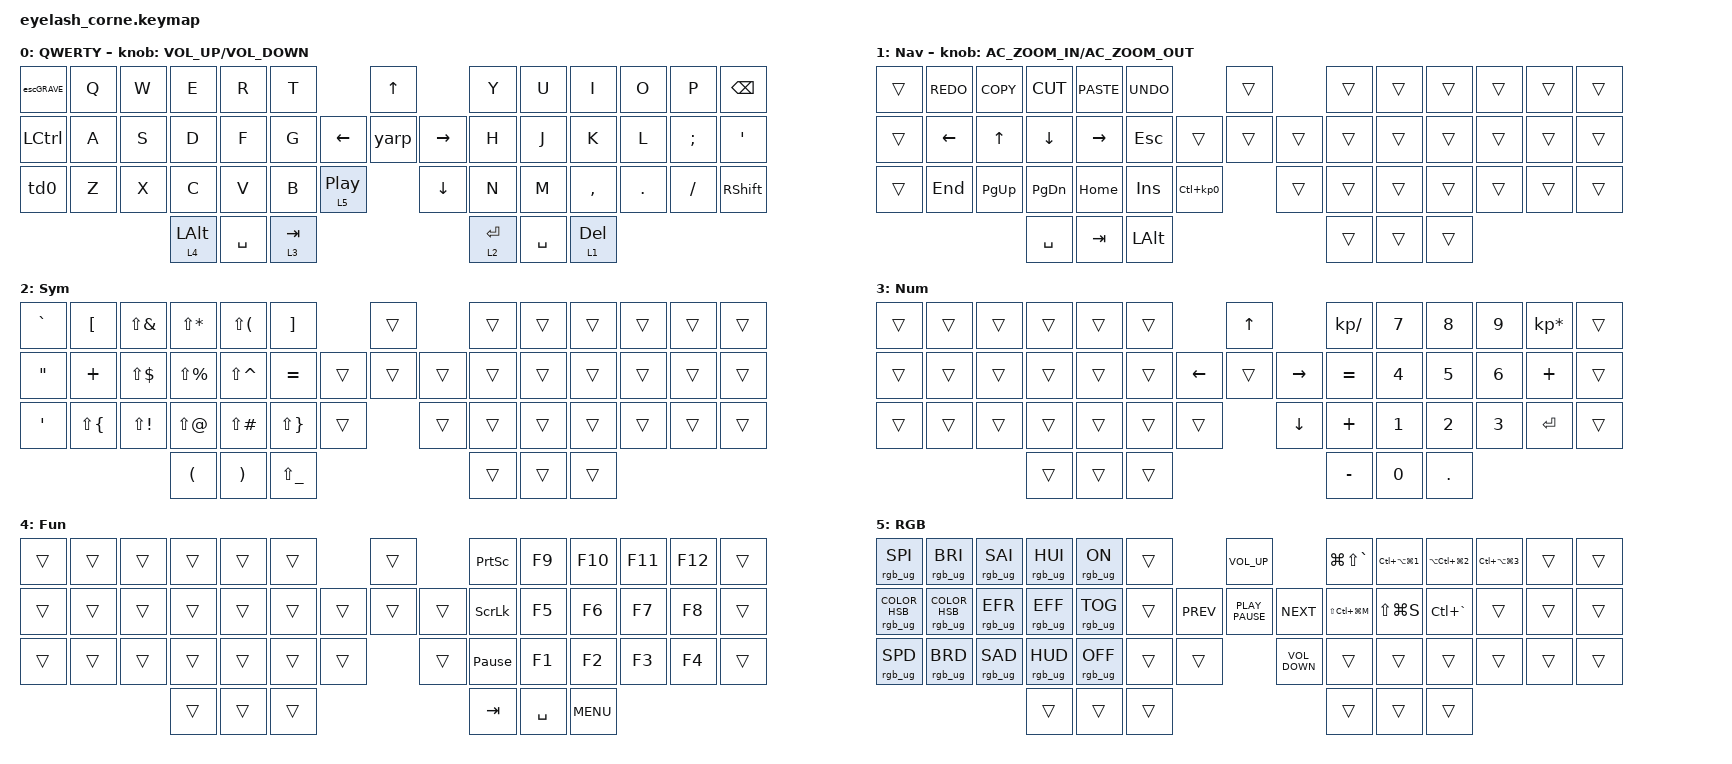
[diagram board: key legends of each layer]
#define ZMK_POINTING_DEFAULT_MOVE_VAL 1200  // 600
#define ZMK_POINTING_DEFAULT_SCRL_VAL 25   // 10

#include <input/processors.dtsi>
#include <zephyr/dt-bindings/input/input-event-codes.h>
#include <behaviors.dtsi>
#include <dt-bindings/zmk/keys.h>
#include <dt-bindings/zmk/pointing.h>
#include <dt-bindings/zmk/rgb.h>

&mmv_input_listener { input-processors = <&zip_xy_scaler 2 1>; };

&msc_input_listener { input-processors = <&zip_scroll_scaler 2 1>; };

&msc {
    acceleration-exponent = <1>;      // 0
    time-to-max-speed-ms = <100>;       // 300
    delay-ms = <0>;                   // 0
};

&mmv {
    time-to-max-speed-ms = <500>;
    acceleration-exponent = <1>;
    trigger-period-ms = <16>;
};

/ {
    behaviors {
        td0: td0 {
            compatible = "zmk,behavior-tap-dance";
            display-name = "Shift/Caps Lock Tap Dance";
            #binding-cells = <0>;
            bindings = <&kp LEFT_SHIFT>, <&kp CAPS>;
        };

        rpi: require_prior_idle {
            compatible = "zmk,behavior-hold-tap";
            label = "RPI";
            bindings = <&kp>, <&kp>;

            #binding-cells = <2>;
            tapping-term-ms = <200>;
            quick-tap-ms = <200>;
            require-prior-idle-ms = <125>;
            flavor = "tap-preferred";
        };

        leftlt: leftlt {
            compatible = "zmk,behavior-hold-tap";
            label = "LEFTLT";
            bindings = <&mo>, <&kp>;

            #binding-cells = <2>;
            tapping-term-ms = <200>;
            quick-tap-ms = <200>;
            require-prior-idle-ms = <125>;
            flavor = "tap-preferred";
            hold-trigger-key-positions = <0 1 2 3 4 5 13 14 15 16 17 18 28 29 30 31 32 33 34 42 43 44>;
        };

        rightlt: rightlt {
            compatible = "zmk,behavior-hold-tap";
            label = "RIGHTLT";
            bindings = <&mo>, <&kp>;

            #binding-cells = <2>;
            tapping-term-ms = <200>;
            quick-tap-ms = <200>;
            require-prior-idle-ms = <125>;
            flavor = "tap-preferred";
            hold-trigger-key-positions = <6 7 8 9 10 11 12 19 20 21 22 23 24 25 26 27 35 36 37 38 39 40 41 45 46 47>;
        };

        escGRAVE: escGRAVE {
            compatible = "zmk,behavior-tap-dance";
            display-name = "Shift/Caps Lock Tap Dance";
            #binding-cells = <0>;
            bindings = <&kp ESCAPE>, <&kp GRAVE>;

            label = "ESCGRAVE";
        };
    };

        rgb_encoder: rgb_encoder {
            compatible = "zmk,behavior-sensor-rotate";
            #sensor-binding-cells = <0>;
            bindings = <&rgb_ug RGB_BRI>, <&rgb_ug RGB_BRD>;
        };

        scroll_encoder: scroll_encoder {
            compatible = "zmk,behavior-sensor-rotate";
            #sensor-binding-cells = <0>;
            bindings = <&msc SCRL_DOWN>, <&msc SCRL_UP>;

            tap-ms = <100>;
        };

    macros {
        appt: snipping {
            compatible = "zmk,behavior-macro";
            #binding-cells = <0>;
            bindings = <&kp H &kp T &kp T &kp P &kp S &kp COLON &kp FSLH &kp FSLH &kp C &kp A &kp L &kp E &kp N &kp D &kp A &kp R &kp DOT &kp A &kp P &kp P &kp DOT &kp G &kp O &kp O &kp G &kp L &kp E &kp FSLH &kp LS(D) &kp LS(D) &kp J &kp N5 &kp V &kp LS(P) &kp C &kp C &kp N8 &kp N5 &kp B &kp N3 &kp D &kp N1 &kp G &kp P &kp N8 &kp RET>;
            label = "SNIPPING";
        };

        subcribe: subcribe {
            compatible = "zmk,behavior-macro";
            #binding-cells = <0>;
            bindings = <&none &kp LS(M) &kp N2 &kp N0 &kp N0 &kp N8 &kp N1 &kp N8 &kp N1 &kp N9 &kp N0 &kp N5 &kp N3 &kp N4 &kp N5 &kp N0>;
            label = "SUBCRIBE";
        };

        yarp: yarp {
            compatible = "zmk,behavior-macro";
            #binding-cells = <0>;
            bindings = <&none &kp N4 &kp N9 &kp N8 &kp PRCNT &kp LS(T) &kp LS(R) &kp V &kp PRCNT>;
            label = "YARP";
        };
    };

    keymap {
        compatible = "zmk,keymap";

        default_layer {
            display-name = "QWERTY";
            bindings = <
&escGRAVE         &kp Q  &kp W  &kp E           &kp R      &kp T                                      &kp UP               &kp Y        &kp U      &kp I      &kp O    &kp P          &kp BSPC
&kp LEFT_CONTROL  &kp A  &kp S  &kp D           &kp F      &kp G                            &kp LEFT  &yarp     &kp RIGHT  &kp H        &kp J      &kp K      &kp L    &kp SEMICOLON  &kp SQT
&td0              &kp Z  &kp X  &kp C           &kp V      &kp B      &lt 5 C_PLAY_PAUSE              &kp DOWN             &kp N        &kp M      &kp COMMA  &kp DOT  &kp FSLH       &kp RSHIFT
                                &lt 4 LEFT_ALT  &kp SPACE  &lt 3 TAB                                                       &lt 2 ENTER  &kp SPACE  &lt 1 DEL
            >;

            sensor-bindings = <&inc_dec_kp C_VOLUME_UP C_VOLUME_DOWN>;
        };

        Navigation {
            bindings = <
&trans  &kp K_REDO      &kp K_COPY    &kp K_CUT      &kp K_PASTE  &kp K_UNDO                                   &trans          &trans  &trans  &trans  &trans  &trans  &trans
&trans  &kp LEFT_ARROW  &kp UP_ARROW  &kp DOWN       &kp RIGHT    &kp ESCAPE                           &trans  &trans  &trans  &trans  &trans  &trans  &trans  &trans  &trans
&trans  &kp END         &kp PAGE_UP   &kp PAGE_DOWN  &kp HOME     &kp INSERT    &kp LC(KP_NUMBER_0)            &trans          &trans  &trans  &trans  &trans  &trans  &trans
                                      &kp SPACE      &kp TAB      &kp LEFT_ALT                                                 &trans  &trans  &trans
            >;

            label = "Nav";
            sensor-bindings = <&inc_dec_kp C_AC_ZOOM_IN C_AC_ZOOM_OUT>;
        };

        Symbols {
            bindings = <
&kp GRAVE          &kp LEFT_BRACKET    &kp LS(AMPS)  &kp LS(STAR)          &kp LS(LPAR)           &kp RIGHT_BRACKET                      &trans          &trans  &trans  &trans  &trans  &trans  &trans
&kp DOUBLE_QUOTES  &kp PLUS            &kp LS(DLLR)  &kp LS(PRCNT)         &kp LS(CARET)          &kp EQUAL                      &trans  &trans  &trans  &trans  &trans  &trans  &trans  &trans  &trans
&kp SINGLE_QUOTE   &kp LS(LEFT_BRACE)  &kp LS(EXCL)  &kp LS(AT)            &kp LS(POUND)          &kp LS(RIGHT_BRACE)  &trans            &trans          &trans  &trans  &trans  &trans  &trans  &trans
                                                     &kp LEFT_PARENTHESIS  &kp RIGHT_PARENTHESIS  &kp LS(UNDER)                                          &trans  &trans  &trans
            >;

            label = "Sym";
        };

        Numbers {
            bindings = <
&trans  &trans  &trans  &trans  &trans  &trans                            &kp UP_ARROW                     &kp KP_DIVIDE  &kp N7        &kp N8        &kp N9        &kp KP_MULTIPLY  &trans
&trans  &trans  &trans  &trans  &trans  &trans            &kp LEFT_ARROW  &trans          &kp RIGHT_ARROW  &kp EQUAL      &kp NUMBER_4  &kp N5        &kp NUMBER_6  &kp PLUS         &trans
&trans  &trans  &trans  &trans  &trans  &trans  &trans                    &kp DOWN_ARROW                   &kp PLUS       &kp NUMBER_1  &kp NUMBER_2  &kp NUMBER_3  &kp RET          &trans
                        &trans  &trans  &trans                                                             &kp MINUS      &kp N0        &kp PERIOD
            >;

            label = "Num";
        };

        Functions {
            bindings = <
&trans  &trans  &trans  &trans  &trans  &trans                    &trans          &kp PSCRN        &kp F9     &kp F10     &kp F11  &kp F12  &trans
&trans  &trans  &trans  &trans  &trans  &trans            &trans  &trans  &trans  &kp SLCK         &kp F5     &kp F6      &kp F7   &kp F8   &trans
&trans  &trans  &trans  &trans  &trans  &trans  &trans            &trans          &kp PAUSE_BREAK  &kp F1     &kp F2      &kp F3   &kp F4   &trans
                        &trans  &trans  &trans                                    &kp TAB          &kp SPACE  &kp K_MENU
            >;

            label = "Fun";
        };

        RGB {
            bindings = <
&rgb_ug RGB_SPI                    &rgb_ug RGB_BRI                   &rgb_ug RGB_SAI  &rgb_ug RGB_HUI  &rgb_ug RGB_ON   &trans                        &kp C_VOLUME_UP                &kp LG(LS(GRAVE))  &kp LC(LA(LG(N1)))  &kp LA(LC(LG(N2)))  &kp LC(LA(LG(N3)))  &trans  &trans
&rgb_ug RGB_COLOR_HSB(290,100,50)  &rgb_ug RGB_COLOR_HSB(157,94,58)  &rgb_ug RGB_EFR  &rgb_ug RGB_EFF  &rgb_ug RGB_TOG  &trans            &kp C_PREV  &kp K_PLAY_PAUSE   &kp C_NEXT  &kp LS(LC(LG(M)))  &kp LS(LG(S))       &kp LC(GRAVE)       &trans              &trans  &trans
&rgb_ug RGB_SPD                    &rgb_ug RGB_BRD                   &rgb_ug RGB_SAD  &rgb_ug RGB_HUD  &rgb_ug RGB_OFF  &trans  &trans                &kp C_VOLUME_DOWN              &trans             &trans              &trans              &trans              &trans  &trans
                                                                                      &trans           &trans           &trans                                                       &trans             &trans              &trans
            >;
        };
    };
};
